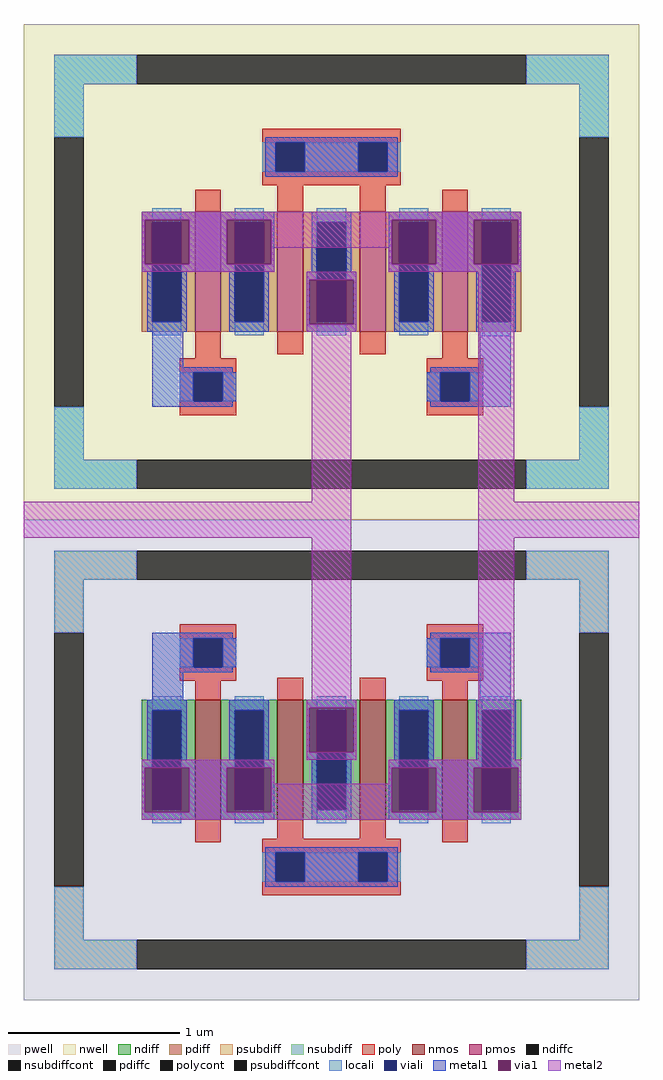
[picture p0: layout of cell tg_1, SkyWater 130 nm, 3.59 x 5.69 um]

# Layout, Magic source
magic
tech sky130A
magscale 1 2
<< metal2 >>
rect 283 -32 329 166
rect -53 -74 329 -32
rect 283 -263 329 -74
rect 477 -32 519 236
rect 477 -74 665 -32
rect 477 -333 519 -74
use tg_n  sky130_fd_pr__nfet_01v8_2AA63J_0
transform 1 0 306 0 1 -333
box -359 -280 359 280
use tg_p  sky130_fd_pr__pfet_01v8_X679XQ_0
transform 1 0 306 0 1 236
box -359 -289 359 289
<< end >>

# cell tg_n: kit device sky130_fd_pr__nfet_01v8, w 0.7 l 0.150 m 1 nf 4 diffcov 100 polycov 100 guard 1 glc 1 grc 1 gtc 1 gbc 1 tbcov 100 rlcov 100 topc 1 botc 1 poverlap 0 doverlap 1 lmin 0.15 wmin 0.42 compatible {sky130_fd_pr__nfet_01v8 sky130_fd_pr__nfet_01v8_lvt sky130_fd_bs_flash__special_sonosfet_star sky130_fd_pr__nfet_g5v0d10v5 sky130_fd_pr__nfet_05v0_nvt sky130_fd_pr__nfet_03v3_nvt} full_metal 1 viasrc 100 viadrn 100 viagate 100 viagb 0 viagr 0 viagl 0 viagt 0

# cell tg_p: kit device sky130_fd_pr__pfet_01v8, w 0.7 l 0.15 m 1 nf 4 diffcov 100 polycov 100 guard 1 glc 1 grc 1 gtc 1 gbc 1 tbcov 100 rlcov 100 topc 1 botc 1 poverlap 0 doverlap 1 lmin 0.15 wmin 0.42 compatible {sky130_fd_pr__pfet_01v8 sky130_fd_pr__pfet_01v8_lvt sky130_fd_pr__pfet_01v8_hvt sky130_fd_pr__pfet_g5v0d10v5} full_metal 1 viasrc 100 viadrn 100 viagate 100 viagb 0 viagr 0 viagl 0 viagt 0
